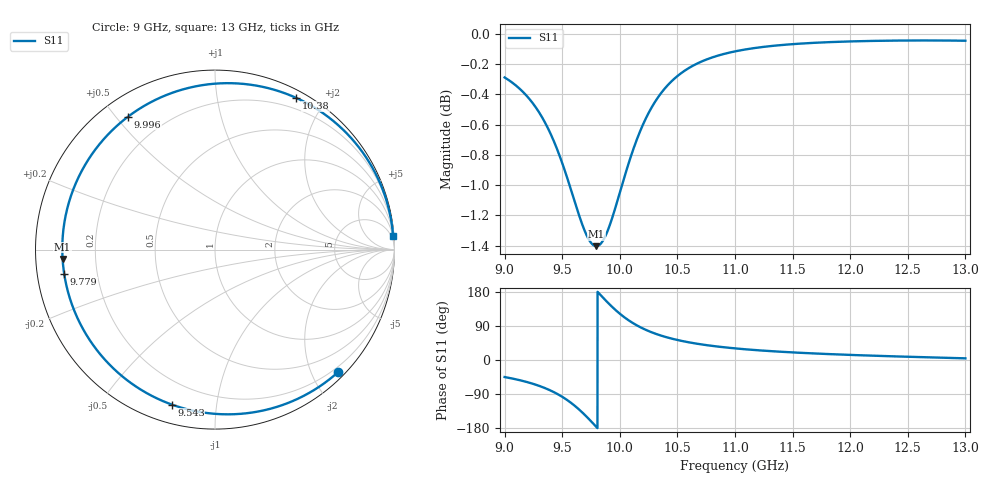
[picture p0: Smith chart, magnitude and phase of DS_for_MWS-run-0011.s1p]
! TOUCHSTONE file generated by CST DESIGN STUDIO
! Date and time: Tue Feb  4 17:25:22 2025
! Project name: C:\Work\MatlabApps\UnitCellOptimizationMatlab\CST\unitcell.cst
! Tree item: Tasks\Sweep1\SPara1\S-Parameters
! Header version: 2024
! Port assignment regex: !\s*Touchstone port\s*([0-9]+)\s*=\s*(CST MWS port|CST DES external port|CST DES block port)\s*(.+)\s* \(\"(.*)\"\)(\s*mode\s*([0-9]+))?.*
! Touchstone port assignment:
! Touchstone port 1 = CST DES external port 1 ("")
# GHz S MA R 50
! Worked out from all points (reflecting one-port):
!   4001 points, 9 GHz to 13 GHz, reference 50 ohm
!   lowest |S11| = -1.4 dB at 9.796 GHz (marker M1), VSWR 12.40, Z = 4.04 - j1.52 ohm
!   phase of S11 starts at -45 deg and turns -311 deg over the sweep
!   S11 on the Smith chart (normalised r, x): 9 GHz: 0.11, -2.41; 9.543 GHz: 0.09, -0.75; 9.779 GHz: 0.08, -0.08; 9.996 GHz: 0.08, +0.54; 10.38 GHz: 0.08, +1.66; 13 GHz: 2, +26
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9  0.9674 -45.0
9.145  0.958 -54.3
9.276  0.9449 -65.7
9.39  0.9283 -79.3
9.5  0.9064 -97.1
9.543  0.8963 -105.6
9.602  0.8817 -119.1
9.658  0.8684 -133.8
9.723  0.8562 -153.0
9.779  0.851 -170.9
9.796  0.8507 -176.5
9.84  0.8528 169.1
9.885  0.859 154.8
9.942  0.8711 137.7
9.996  0.885 123.2
10  0.8861 122.2
10.071  0.9047 105.9
10.151  0.9234 90.9
10.263  0.9436 74.7
10.384  0.9586 62.0
10.5  0.9684 52.8
10.602  0.9745 46.5
10.717  0.9795 40.8
11  0.9868 30.7
11.5  0.9922 20.0
12  0.9943 13.4
12.5  0.995 8.6
13  0.9948 4.4
